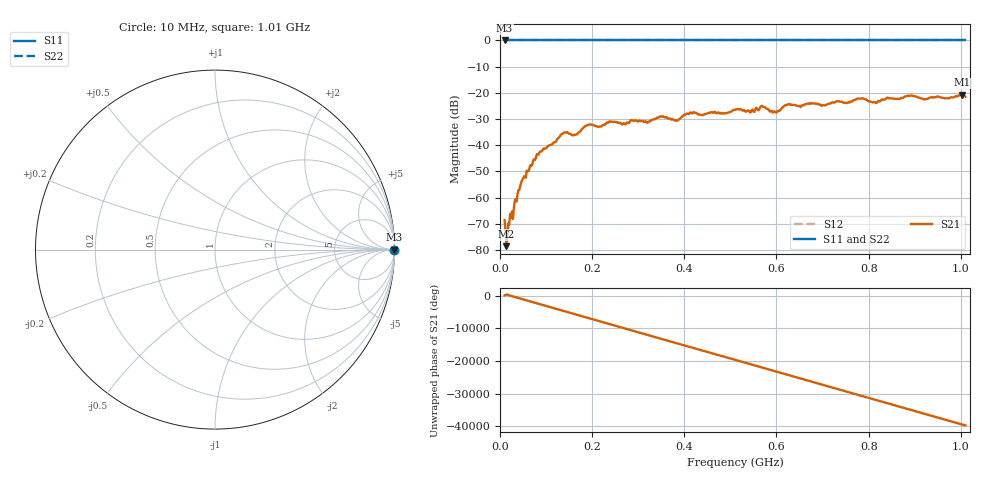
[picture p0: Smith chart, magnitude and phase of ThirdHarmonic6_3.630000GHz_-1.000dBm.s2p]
! 8/17/2025 12:10:25 PM
! C:\ANRITSUVNA\TEMP\TEMP.S2P
! CHANNEL.1
! TR.MEASUREMENT
! RAW.DATA
! RF.CORRECTION.OFF
! AVERAGING.OFF
! IF.BANDWIDTH: 5KHZ
! SWEEPTYPE:  FREQ.SWEEP(Linear)
! Reference Plane Port Info
! PORT:  PORT1  PORT2
! DISTANCE:  0  m  0  m
! TIME:  0  s  0  s
! PHASE.OFFSET:  0  deg.  0  deg.
! LOSS:  0  dB  0  dB
! REF.LOSS:  0  dB  0  dB
! REF.FREQ:  0  Hz  0  Hz
! Power Info
! POWER:  -20  dBm  -20  dBm
! EFF.POWER:  -20  dBm  -20  dBm
! SOURCE.ATTEN:  0  dB  0  dB
! TEST.ATTEN:  0  dB  0  dB
# GHZ S RI R 50.0
! FREQ.GHZ  S11RE  S11IM  S21RE  S21IM  S12RE  S12IM  S22RE  S22IM
!; PortSelection: Port_12
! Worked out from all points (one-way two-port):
!   501 points, 10 MHz to 1.01 GHz, reference 50 ohm
!   highest |S21| = -20.75 dB at 1.002 GHz (marker M1); lowest = -78.5 dB at 14 MHz (marker M2)
!   lowest |S11| = 0.0 dB at 10 MHz (marker M3)
!   |S11| at or under -10 dB: nowhere
!   |S22| runs from 0.0 to 0.0 dB; largest |S21 - S12| = 1.1
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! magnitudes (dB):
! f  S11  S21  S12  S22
! 10 MHz  0.0  -68.6  0.0  0.0
! 14 MHz  0.0  -78.5  0.0  0.0
! 16 MHz  0.0  -74.9  0.0  0.0
! 22 MHz  0.0  -66.2  0.0  0.0
! 48 MHz  0.0  -53.3  0.0  0.0
! 82 MHz  0.0  -43.4  0.0  0.0
! 136 MHz  0.0  -35.6  0.0  0.0
! 162 MHz  0.0  -35.9  0.0  0.0
! 178 MHz  0.0  -33.8  0.0  0.0
! 344 MHz  0.0  -29.4  0.0  0.0
! 382 MHz  0.0  -30.4  0.0  0.0
! 416 MHz  0.0  -27.8  0.0  0.0
! 510 MHz  0.0  -26.4  0.0  0.0
! 570 MHz  0.0  -25.2  0.0  0.0
! 596 MHz  0.0  -27.1  0.0  0.0
! 624 MHz  0.0  -24.5  0.0  0.0
! 678 MHz  0.0  -24.1  0.0  0.0
! 784 MHz  0.0  -22.2  0.0  0.0
! 814 MHz  0.0  -23.6  0.0  0.0
! 844 MHz  0.0  -22.1  0.0  0.0
! 1.002 GHz  0.0  -20.8  0.0  0.0
! 1.01 GHz  0.0  -21.5  0.0  0.0
